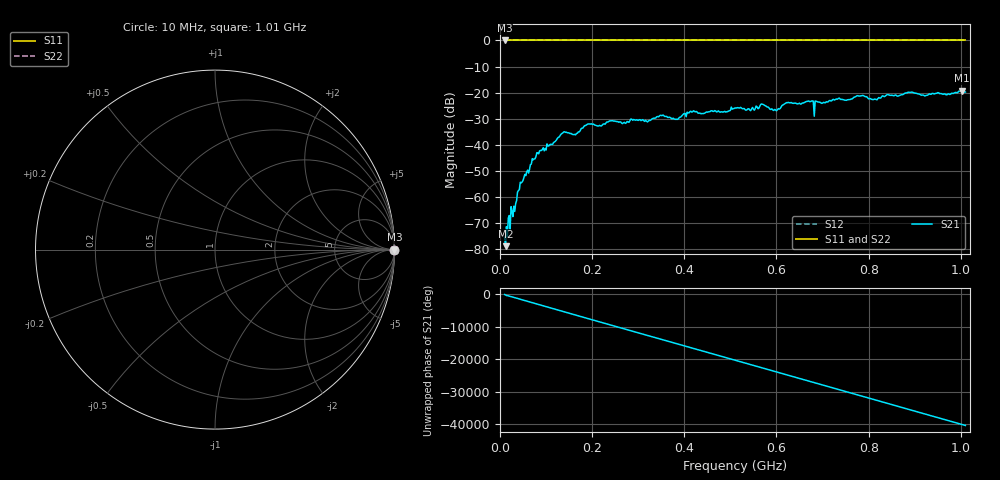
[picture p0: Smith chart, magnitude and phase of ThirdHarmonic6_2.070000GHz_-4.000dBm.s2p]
! 8/17/2025 12:47:37 AM
! C:\ANRITSUVNA\TEMP\TEMP.S2P
! CHANNEL.1
! TR.MEASUREMENT
! RAW.DATA
! RF.CORRECTION.OFF
! AVERAGING.OFF
! IF.BANDWIDTH: 5KHZ
! SWEEPTYPE:  FREQ.SWEEP(Linear)
! Reference Plane Port Info
! PORT:  PORT1  PORT2
! DISTANCE:  0  m  0  m
! TIME:  0  s  0  s
! PHASE.OFFSET:  0  deg.  0  deg.
! LOSS:  0  dB  0  dB
! REF.LOSS:  0  dB  0  dB
! REF.FREQ:  0  Hz  0  Hz
! Power Info
! POWER:  -20  dBm  -20  dBm
! EFF.POWER:  -20  dBm  -20  dBm
! SOURCE.ATTEN:  0  dB  0  dB
! TEST.ATTEN:  0  dB  0  dB
# GHZ S RI R 50.0
! FREQ.GHZ  S11RE  S11IM  S21RE  S21IM  S12RE  S12IM  S22RE  S22IM
!; PortSelection: Port_12
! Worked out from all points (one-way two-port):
!   501 points, 10 MHz to 1.01 GHz, reference 50 ohm
!   highest |S21| = -19.24 dB at 1.002 GHz (marker M1); lowest = -79.0 dB at 12 MHz (marker M2)
!   lowest |S11| = 0.0 dB at 10 MHz (marker M3)
!   |S11| at or under -10 dB: nowhere
!   |S22| runs from 0.0 to 0.0 dB; largest |S21 - S12| = 1.1
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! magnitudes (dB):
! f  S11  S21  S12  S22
! 10 MHz  0.0  -75.5  0.0  0.0
! 12 MHz  0.0  -79.0  0.0  0.0
! 22 MHz  0.0  -72.6  0.0  0.0
! 32 MHz  0.0  -65.7  0.0  0.0
! 42 MHz  0.0  -57.3  0.0  0.0
! 74 MHz  0.0  -45.5  0.0  0.0
! 136 MHz  0.0  -35.5  0.0  0.0
! 162 MHz  0.0  -36.1  0.0  0.0
! 178 MHz  0.0  -33.7  0.0  0.0
! 194 MHz  0.0  -32.1  0.0  0.0
! 344 MHz  0.0  -29.3  0.0  0.0
! 382 MHz  0.0  -30.3  0.0  0.0
! 416 MHz  0.0  -27.5  0.0  0.0
! 510 MHz  0.0  -25.9  0.0  0.0
! 548 MHz  0.0  -25.7  0.0  0.0
! 570 MHz  0.0  -24.5  0.0  0.0
! 598 MHz  0.0  -26.7  0.0  0.0
! 624 MHz  0.0  -23.9  0.0  0.0
! 678 MHz  0.0  -23.2  0.0  0.0
! 844 MHz  0.0  -20.9  0.0  0.0
! 1.002 GHz  0.0  -19.2  0.0  0.0
! 1.01 GHz  0.0  -19.8  0.0  0.0
